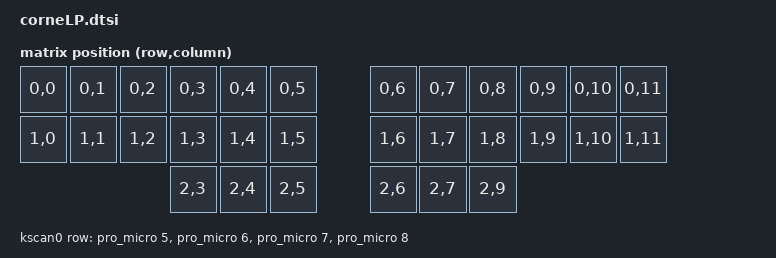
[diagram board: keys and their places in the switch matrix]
#include <dt-bindings/zmk/matrix_transform.h> // Put this with the other includes at the top of your dtsi
#include <layouts/foostan/corne/6column.dtsi>

&foostan_corne_6col_layout {
    transform = <&default_transform>;
};

/ {
    chosen {
        zmk,kscan = &kscan0;
        zmk,physical-layout = &foostan_corne_6col_layout;
    };
    
/ {
    kscan0: kscan0 {
        compatible = "zmk,kscan-gpio-matrix";
        diode-direction = "col2row";
        wakeup-source;

        row-gpios
            = <&pro_micro 5 (GPIO_ACTIVE_HIGH | GPIO_PULL_DOWN)>
            , <&pro_micro 6 (GPIO_ACTIVE_HIGH | GPIO_PULL_DOWN)>
            , <&pro_micro 7 (GPIO_ACTIVE_HIGH | GPIO_PULL_DOWN)>
            , <&pro_micro 8 (GPIO_ACTIVE_HIGH | GPIO_PULL_DOWN)>
            ;

    };
};

/ {
    default_transform: keymap_transform0 {
        compatible = "zmk,matrix-transform";
        columns = <12>;
        rows = <4>;
        map = <
        //  LKey 1 |LKey 2 |LKey 3 LKey 4 |LKey 5 |LKey 6      RKey 1 |RKey 2 |RKey 3 |RKey 4 |RKey 5 |RKey 6
            RC(0,0) RC(0,1) RC(0,2) RC(0,3) RC(0,4) RC(0,5)    RC(0,6) RC(0,7) RC(0,8) RC(0,9) RC(0,10) RC(0,11)
        //  LKey 7 |LKey 8 |LKey 9 LKey 10 |LKey 11 |LKey 12   RKey 7 |RKey 8 |RKey 9 |RKey 10 |RKey 11 |RKey 12
            RC(1,0) RC(1,1) RC(1,2) RC(1,3) RC(1,4) RC(1,5)    RC(1,6) RC(1,7) RC(1,8) RC(1,9) RC(1,10) RC(1,11)
        //  LKey 13 |LKey 14 |LKey 15                          RKey 13 |RKey 14 |RKey 15 
            RC(2,3) RC(2,4) RC(2,5)                            RC(2,6) RC(2,7) RC(2,9)
        >;
    };
};

